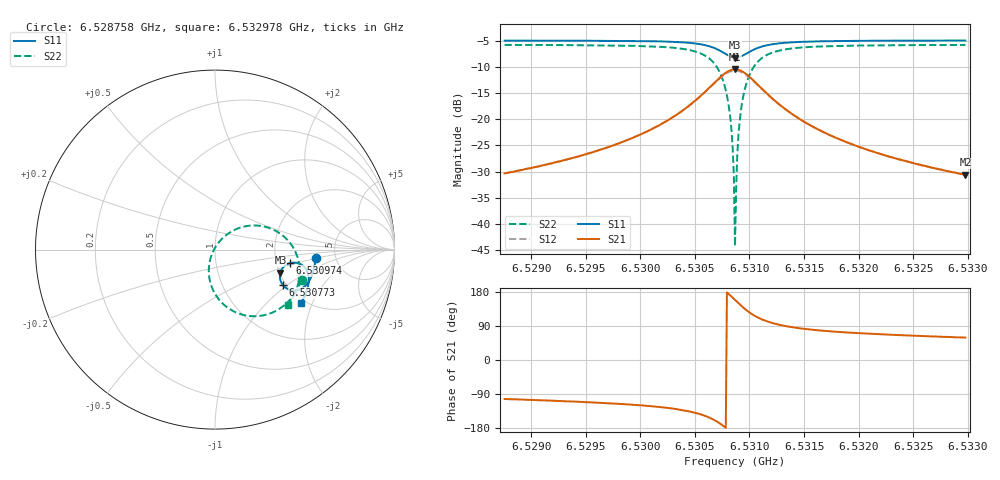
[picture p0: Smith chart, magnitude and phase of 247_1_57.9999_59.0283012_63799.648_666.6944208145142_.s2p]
#  HZ  S  RI  R  50.00
! Rohde & Schwarz Vector Network Analyzer
! Rohde-Schwarz,ZNB20-2Port,1311601062101988,3.16
! Created: UTC 3/21/2024, 1:01:18 AM
! freq[Hz]  re:S11  im:S11  re:S21  im:S21  re:S12  im:S12  re:S22  im:S22
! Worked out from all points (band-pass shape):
!   401 points, 6.528758 GHz to 6.532978 GHz, reference 50 ohm
!   highest |S21| = -10.48 dB at 6.530868 GHz (marker M1); lowest = -30.6 dB at 6.532978 GHz (marker M2)
!   |S21| within 3 dB of the highest: 6.530658 GHz to 6.53108 GHz (422.1 kHz wide, 0.00646 % of centre)
!   lowest |S11| = -8.3 dB at 6.530868 GHz (marker M3), VSWR 2.26, Z = 101 - j30.5 ohm
!   |S11| at or under -10 dB: nowhere
!   |S22| runs from -44.2 to -5.8 dB; largest |S21 - S12| = 0.012
!   S11 on the Smith chart (normalised r, x): 6.528758 GHz: 3.49, -0.48; 6.530773 GHz: 1.92, -0.92; 6.530974 GHz: 2.38, -0.43; 6.532978 GHz: 1.88, -1.65
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6.5287581e9  0.5602 -0.0474  -0.00678 -0.0297  -0.00735 -0.0296  0.4834 -0.1679
6.5294649e9  0.551 -0.1061  -0.0159 -0.0422  -0.0169 -0.0418  0.4526 -0.2319
6.5301718e9  0.5243 -0.176  -0.0485 -0.0726  -0.0508 -0.0712  0.3721 -0.3211
6.5305938e9  0.4554 -0.2264  -0.1538 -0.0983  -0.1562 -0.0918  0.1703 -0.3669
6.5306993e9  0.4113 -0.2221  -0.2217 -0.0725  -0.2212 -0.0632  0.0559 -0.3123
6.5307731e9  0.3769 -0.196  -0.272 -0.0157  -0.2664 -0.00583  -0.0185 -0.2075
6.5308048e9  0.3662 -0.1764  -0.2853 0.022  -0.2774 0.0306  -0.0336 -0.1429
6.5308259e9  0.3623 -0.1612  -0.2887 0.0504  -0.2795 0.0577  -0.0337 -0.0955
6.5308364e9  0.3614 -0.153  -0.2883 0.0653  -0.2786 0.0717  -0.0304 -0.0712
6.530847e9  0.3615 -0.1447  -0.2865 0.0802  -0.2764 0.0857  -0.0246 -0.0472
6.5308575e9  0.3624 -0.1365  -0.2831 0.0948  -0.2727 0.0997  -0.0165 -0.0236
6.5308681e9  0.3643 -0.1283  -0.2784 0.1094  -0.2678 0.1132  -0.00607 -0.000907
6.5308786e9  0.367 -0.1203  -0.2723 0.1233  -0.2616 0.1261  0.0067 0.0206
6.5308892e9  0.3706 -0.1129  -0.2648 0.1367  -0.2542 0.1384  0.0214 0.0408
6.5308997e9  0.3749 -0.1058  -0.256 0.1489  -0.2457 0.1498  0.038 0.0594
6.5309208e9  0.3853 -0.0933  -0.2356 0.1701  -0.2261 0.1695  0.075 0.0904
6.5309736e9  0.4175 -0.0749  -0.1769 0.2018  -0.1701 0.199  0.1776 0.1313
6.5310474e9  0.4595 -0.0748  -0.1033 0.2042  -0.0998 0.2012  0.3007 0.1208
6.5311529e9  0.4963 -0.0962  -0.0399 0.1742  -0.0381 0.1726  0.4028 0.0548
6.5315749e9  0.5226 -0.1752  0.015 0.0842  0.0161 0.084  0.472 -0.1336
6.5322818e9  0.5044 -0.2472  0.0171 0.0403  0.018 0.0401  0.4428 -0.2484
6.5329781e9  0.4782 -0.2992  0.0151 0.0253  0.0156 0.0251  0.4075 -0.3085
